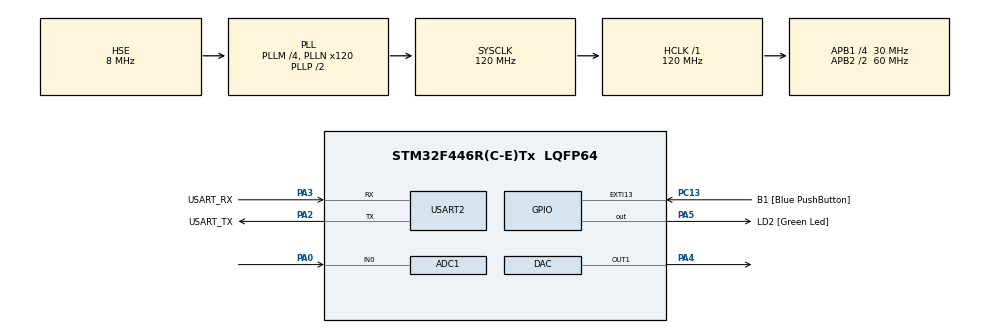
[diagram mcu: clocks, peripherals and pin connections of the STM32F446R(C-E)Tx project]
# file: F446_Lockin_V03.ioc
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ADC1.Channel-0\#ChannelRegularConversion=ADC_CHANNEL_0
ADC1.DMAContinuousRequests=ENABLE
ADC1.ExternalTrigConv=ADC_EXTERNALTRIGCONV_T8_CC1
ADC1.ExternalTrigConvEdge=ADC_EXTERNALTRIGCONVEDGE_FALLING
ADC1.NbrOfConversionFlag=1
ADC1.Rank-0\#ChannelRegularConversion=1
ADC1.Resolution=ADC_RESOLUTION_10B
ADC1.SamplingTime-0\#ChannelRegularConversion=ADC_SAMPLETIME_15CYCLES
ADC1.master=1
DAC.DAC_Trigger=DAC_TRIGGER_T8_TRGO
Dma.ADC1.0.Direction=DMA_PERIPH_TO_MEMORY
Dma.ADC1.0.FIFOMode=DMA_FIFOMODE_DISABLE
Dma.ADC1.0.Instance=DMA2_Stream0
Dma.ADC1.0.MemDataAlignment=DMA_MDATAALIGN_WORD
Dma.ADC1.0.MemInc=DMA_MINC_ENABLE
Dma.ADC1.0.Mode=DMA_CIRCULAR
Dma.ADC1.0.PeriphDataAlignment=DMA_PDATAALIGN_WORD
Dma.ADC1.0.PeriphInc=DMA_PINC_DISABLE
Dma.ADC1.0.Priority=DMA_PRIORITY_HIGH
Dma.DAC1.1.Direction=DMA_MEMORY_TO_PERIPH
Dma.DAC1.1.FIFOMode=DMA_FIFOMODE_DISABLE
Dma.DAC1.1.Instance=DMA1_Stream5
Dma.DAC1.1.MemDataAlignment=DMA_MDATAALIGN_WORD
Dma.DAC1.1.MemInc=DMA_MINC_ENABLE
Dma.DAC1.1.Mode=DMA_CIRCULAR
Dma.DAC1.1.PeriphDataAlignment=DMA_PDATAALIGN_WORD
Dma.DAC1.1.PeriphInc=DMA_PINC_DISABLE
Dma.DAC1.1.Priority=DMA_PRIORITY_HIGH
Dma.Request0=ADC1
Dma.Request1=DAC1
Mcu.Family=STM32F4
Mcu.Name=STM32F446R(C-E)Tx
Mcu.Package=LQFP64
NVIC.DMA1_Stream5_IRQn=true\:0\:0\:false\:false\:true\:false\:true\:true
NVIC.DMA2_Stream0_IRQn=true\:0\:0\:false\:false\:true\:false\:true\:true
NVIC.PriorityGroup=NVIC_PRIORITYGROUP_0
PA0-WKUP.Signal=ADCx_IN0
PA13.GPIO_Label=TMS
PA13.Mode=Serial_Wire
PA13.Signal=SYS_JTMS-SWDIO
PA14.GPIO_Label=TCK
PA14.Mode=Serial_Wire
PA14.Signal=SYS_JTCK-SWCLK
PA2.GPIO_Label=USART_TX
PA2.Mode=Asynchronous
PA2.Signal=USART2_TX
PA3.GPIO_Label=USART_RX
PA3.Mode=Asynchronous
PA3.Signal=USART2_RX
PA4.Signal=COMP_DAC1_group
PA5.GPIO_Label=LD2 [Green Led]
PA5.Signal=GPIO_Output
PB3.GPIO_Label=SWO
PB3.Signal=SYS_JTDO-SWO
PC13.GPIO_Label=B1 [Blue PushButton]
PC13.GPIO_ModeDefaultEXTI=GPIO_MODE_IT_FALLING
PC13.Signal=GPXTI13
PC14-OSC32_IN.Mode=LSE-External-Oscillator
PC14-OSC32_IN.Signal=RCC_OSC32_IN
PC15-OSC32_OUT.Mode=LSE-External-Oscillator
PC15-OSC32_OUT.Signal=RCC_OSC32_OUT
PH0-OSC_IN.Mode=HSE-External-Oscillator
PH0-OSC_IN.Signal=RCC_OSC_IN
PH1-OSC_OUT.Mode=HSE-External-Oscillator
PH1-OSC_OUT.Signal=RCC_OSC_OUT
ProjectManager.HeapSize=0x200
ProjectManager.StackSize=0x400
ProjectManager.TargetToolchain=STM32CubeIDE
RCC.48MHZClocksFreq_Value=84000000
RCC.AHBFreq_Value=120000000
RCC.APB1CLKDivider=RCC_HCLK_DIV4
RCC.APB1Freq_Value=30000000
RCC.APB1TimFreq_Value=60000000
RCC.APB2CLKDivider=RCC_HCLK_DIV2
RCC.APB2Freq_Value=60000000
RCC.APB2TimFreq_Value=120000000
RCC.CortexFreq_Value=120000000
RCC.FLatency-AdvancedSettings=FLASH_LATENCY_3
RCC.HCLKFreq_Value=120000000
RCC.HSE_VALUE=8000000
RCC.HSI_VALUE=16000000
RCC.PLLM=4
RCC.PLLN=120
RCC.PLLSourceVirtual=RCC_PLLSOURCE_HSE
RCC.SYSCLKFreq_VALUE=120000000
RCC.SYSCLKSource=RCC_SYSCLKSOURCE_PLLCLK
RCC.USBFreq_Value=120000000
RCC.VCOOutputFreq_Value=240000000
SH.ADCx_IN0.0=ADC1_IN0,IN0
SH.COMP_DAC1_group.0=DAC_OUT1,DAC_OUT1
TIM8.Channel-PWM\ Generation1\ No\ Output=TIM_CHANNEL_1
TIM8.Period=499
TIM8.Pulse-PWM\ Generation1\ No\ Output=300
TIM8.TIM_MasterOutputTrigger=TIM_TRGO_UPDATE
USART2.VirtualMode=VM_ASYNC
VP_TIM8_VS_ClockSourceINT.Mode=Internal
VP_TIM8_VS_no_output1.Mode=PWM Generation1 No Output
board=NUCLEO-F446RE

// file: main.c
/* USER CODE BEGIN Header */
/**
  ******************************************************************************
  * @file           : main.c
  * @brief          : Main program body
  ******************************************************************************
  * @attention
  *
  * Copyright (c) 2022 STMicroelectronics.
  * All rights reserved.
  *
  * Geração de Sinal Senoidal com 128 Pontos e 200 Hz.
  * Resolução do DAC de 12 bits.
  * 4095 equivale a 3,3V.
  * TIM8 conta de 0 a 4687. Quando passa em 790, aciona a leitura analógica.
  * Quando estoura, aciona o DAC.
  *
  * Frequência do sinal gerado:
  * 	No osciloscópio: 200hz / 201Hz
  * 	Na fórmula: 199,97 Hz
  *
  ******************************************************************************
  */
/* USER CODE END Header */
#include "main.h"

/* USER CODE BEGIN Includes */
#include <stdbool.h>
#include <string.h>
#include <math.h>

#define Ns 128
#define Periodos 15
#define pntsVarredura 60

/* USER CODE END Includes */

/* USER CODE BEGIN PM */
uint32_t LUT[Ns] = {983,1016,1049,1083,1116,1148,1181,1212,1244,1274,1304,1333,1362,1389,1415,1441,1465,1488,1510,1531,1550,1568,1584,1599,1613,1625,1636,1645,1652,1658,1662,1664,1665,1664,1662,1658,1652,1645,1636,1625,1613,1599,1584,1568,1550,1531,1510,1488,1465,1441,1415,1389,1362,1333,1304,1274,1244,1212,1181,1148,1116,1083,1049,1016,983,949,916,882,849,817,784,753,721,691,661,632,603,576,550,524,500,477,455,434,415,397,381,366,352,340,329,320,313,307,303,301,300,301,303,307,313,320,329,340,352,366,381,397,415,434,455,477,500,524,550,576,603,632,661,691,721,753,784,817,849,882,916,949};
uint32_t AdcRead[(Periodos*Ns)];

float resultado[(Periodos*Ns)];	// Vetor que armazena temporariamente 1° e 2° Harmônicos

float arg1 = 2 * 3.14159265358979323 * 1;
float arg2 = 2 * 3.14159265358979323 * 2;

float mod1h[pntsVarredura];		// Depois é preciso mudar essa variável Ns para uma que determine o numero de pontos da varredura
float mod2h[pntsVarredura];

float fase1h[pntsVarredura];
float fase2h[pntsVarredura];

float quad1h[pntsVarredura];
float quad2h[pntsVarredura];

bool flag = false;
bool transfer = false;

char recebido[10]; 	// buffer que armazena a string recebida.
char resp1[4] = {'n', 'e', 'x', 't'};
char resp2[4] = {'a', 'b', 'c', 'd'};
char dados[8];

int ret;
int i = 0;
int j = 0;

float soma = 0;
float media = 0;

/* USER CODE END PM */

ADC_HandleTypeDef hadc1;
DMA_HandleTypeDef hdma_adc1;

DAC_HandleTypeDef hdac;
DMA_HandleTypeDef hdma_dac1;

TIM_HandleTypeDef htim8;

UART_HandleTypeDef huart2;

void SystemClock_Config(void);
static void MX_GPIO_Init(void);
static void MX_DMA_Init(void);
static void MX_USART2_UART_Init(void);
static void MX_ADC1_Init(void);
static void MX_DAC_Init(void);
static void MX_TIM8_Init(void);

int main(void)
{

  /* MCU Configuration--------------------------------------------------------*/

  /* Reset of all peripherals, Initializes the Flash interface and the Systick. */
  HAL_Init();

  /* Configure the system clock */
  SystemClock_Config();

  /* Initialize all configured peripherals */
  MX_GPIO_Init();
  MX_DMA_Init();
  MX_USART2_UART_Init();
  MX_ADC1_Init();
  MX_DAC_Init();
  MX_TIM8_Init();
  /* USER CODE BEGIN 2 */

  HAL_DAC_Start_DMA(&hdac, DAC_CHANNEL_1, (uint32_t*)LUT, Ns, DAC_ALIGN_12B_R);
  HAL_ADC_Start_DMA(&hadc1, AdcRead, (Periodos*Ns));
  HAL_TIM_Base_Start(&htim8);
  HAL_TIM_PWM_Start(&htim8, TIM_CHANNEL_1);

  /* USER CODE END 2 */

  /* Infinite loop */
  /* USER CODE BEGIN WHILE */
  while (1)
  {
	  HAL_UART_Receive(&huart2, recebido, 4, 100);
	  ret = strncmp(recebido, resp1, 4);

	  if (ret == 0){		// Se Recebeu a string "next"?
		  recebido[0] = 'a';
		  flag = true;

	  }

	  ret = strncmp(recebido, resp2, 4);

	  	  if (ret == 0){		// Se Recebeu a string "abcd"?
	  		  recebido[0] = 'l';

			HAL_UART_Transmit(&huart2, "1Hm FASE" , 8, 200);
			HAL_Delay(20);
			for (i = 0; i < pntsVarredura; i++){
				sprintf(dados, "%08f", fase1h[i]);
				HAL_UART_Transmit(&huart2, dados , 8, 200);
				HAL_Delay(10);
			}

			HAL_UART_Transmit(&huart2, "1Hm QUAD" , 8, 200);
			HAL_Delay(20);
			for (i = 0; i < pntsVarredura; i++){
				sprintf(dados, "%08f", quad1h[i]);
				HAL_UART_Transmit(&huart2, dados , 8, 200);
				HAL_Delay(10);
			}

			HAL_UART_Transmit(&huart2, "2Hm FASE" , 8, 200);
			HAL_Delay(20);
			for (i = 0; i < pntsVarredura; i++){
				sprintf(dados, "%08f", fase2h[i]);
				HAL_UART_Transmit(&huart2, dados , 8, 200);
				HAL_Delay(10);
			}

			HAL_UART_Transmit(&huart2, "2Hm QUAD" , 8, 200);
			HAL_Delay(20);
			for (i = 0; i < pntsVarredura; i++){
				sprintf(dados, "%08f", quad2h[i]);
				HAL_UART_Transmit(&huart2, dados , 8, 200);
				HAL_Delay(10);
			}

			HAL_UART_Transmit(&huart2, "1Hm MODL" , 8, 200);
			HAL_Delay(20);
			for (i = 0; i < pntsVarredura; i++){
				sprintf(dados, "%08f", mod1h[i]);
				HAL_UART_Transmit(&huart2, dados , 8, 200);
				HAL_Delay(10);
			}

			HAL_UART_Transmit(&huart2, "2Hm MODL" , 8, 200);
			HAL_Delay(20);
			for (i = 0; i < pntsVarredura; i++){
				sprintf(dados, "%08f", mod2h[i]);
				HAL_UART_Transmit(&huart2, dados , 8, 200);
				HAL_Delay(10);
			}

			j = 0;

			HAL_UART_Transmit(&huart2, "Terminou", 8, 100);

			for (int k = 0; k < pntsVarredura; k++){	// Zerando todos os vetores
				fase1h[k] = 0;
				fase2h[k] = 0;
				quad1h[k] = 0;
				quad2h[k] = 0;
				mod1h[k] = 0;
				mod2h[k] = 0;
			}

	  	  }

    /* USER CODE END WHILE */

  }
}

void SystemClock_Config(void)
{
  RCC_OscInitTypeDef RCC_OscInitStruct = {0};
  RCC_ClkInitTypeDef RCC_ClkInitStruct = {0};

  /** Configure the main internal regulator output voltage
  */
  __HAL_RCC_PWR_CLK_ENABLE();
  __HAL_PWR_VOLTAGESCALING_CONFIG(PWR_REGULATOR_VOLTAGE_SCALE3);

  /** Initializes the RCC Oscillators according to the specified parameters
  * in the RCC_OscInitTypeDef structure.
  */
  RCC_OscInitStruct.OscillatorType = RCC_OSCILLATORTYPE_HSE;
  RCC_OscInitStruct.HSEState = RCC_HSE_ON;
  RCC_OscInitStruct.PLL.PLLState = RCC_PLL_ON;
  RCC_OscInitStruct.PLL.PLLSource = RCC_PLLSOURCE_HSE;
  RCC_OscInitStruct.PLL.PLLM = 4;
  RCC_OscInitStruct.PLL.PLLN = 120;
  RCC_OscInitStruct.PLL.PLLP = RCC_PLLP_DIV2;
  RCC_OscInitStruct.PLL.PLLQ = 2;
  RCC_OscInitStruct.PLL.PLLR = 2;
  if (HAL_RCC_OscConfig(&RCC_OscInitStruct) != HAL_OK)
  {
    Error_Handler();
  }

  /** Initializes the CPU, AHB and APB buses clocks
  */
  RCC_ClkInitStruct.ClockType = RCC_CLOCKTYPE_HCLK|RCC_CLOCKTYPE_SYSCLK
                              |RCC_CLOCKTYPE_PCLK1|RCC_CLOCKTYPE_PCLK2;
  RCC_ClkInitStruct.SYSCLKSource = RCC_SYSCLKSOURCE_PLLCLK;
  RCC_ClkInitStruct.AHBCLKDivider = RCC_SYSCLK_DIV1;
  RCC_ClkInitStruct.APB1CLKDivider = RCC_HCLK_DIV4;
  RCC_ClkInitStruct.APB2CLKDivider = RCC_HCLK_DIV2;

  if (HAL_RCC_ClockConfig(&RCC_ClkInitStruct, FLASH_LATENCY_3) != HAL_OK)
  {
    Error_Handler();
  }
}

static void MX_ADC1_Init(void)
{

  ADC_ChannelConfTypeDef sConfig = {0};

  /** Configure the global features of the ADC (Clock, Resolution, Data Alignment and number of conversion)
  */
  hadc1.Instance = ADC1;
  hadc1.Init.ClockPrescaler = ADC_CLOCK_SYNC_PCLK_DIV2;
  hadc1.Init.Resolution = ADC_RESOLUTION_12B;
  hadc1.Init.ScanConvMode = DISABLE;
  hadc1.Init.ContinuousConvMode = DISABLE;
  hadc1.Init.DiscontinuousConvMode = DISABLE;
  hadc1.Init.ExternalTrigConvEdge = ADC_EXTERNALTRIGCONVEDGE_FALLING;
  hadc1.Init.ExternalTrigConv = ADC_EXTERNALTRIGCONV_T8_CC1;
  hadc1.Init.DataAlign = ADC_DATAALIGN_RIGHT;
  hadc1.Init.NbrOfConversion = 1;
  hadc1.Init.DMAContinuousRequests = ENABLE;
  hadc1.Init.EOCSelection = ADC_EOC_SINGLE_CONV;
  if (HAL_ADC_Init(&hadc1) != HAL_OK)
  {
    Error_Handler();
  }

  /** Configure for the selected ADC regular channel its corresponding rank in the sequencer and its sample time.
  */
  sConfig.Channel = ADC_CHANNEL_0;
  sConfig.Rank = 1;
  sConfig.SamplingTime = ADC_SAMPLETIME_15CYCLES;
  if (HAL_ADC_ConfigChannel(&hadc1, &sConfig) != HAL_OK)
  {
    Error_Handler();
  }

}

static void MX_DAC_Init(void)
{

  DAC_ChannelConfTypeDef sConfig = {0};

  /** DAC Initialization
  */
  hdac.Instance = DAC;
  if (HAL_DAC_Init(&hdac) != HAL_OK)
  {
    Error_Handler();
  }

  /** DAC channel OUT1 config
  */
  sConfig.DAC_Trigger = DAC_TRIGGER_T8_TRGO;
  sConfig.DAC_OutputBuffer = DAC_OUTPUTBUFFER_ENABLE;
  if (HAL_DAC_ConfigChannel(&hdac, &sConfig, DAC_CHANNEL_1) != HAL_OK)
  {
    Error_Handler();
  }

}

static void MX_TIM8_Init(void)
{

  TIM_ClockConfigTypeDef sClockSourceConfig = {0};
  TIM_MasterConfigTypeDef sMasterConfig = {0};
  TIM_OC_InitTypeDef sConfigOC = {0};
  TIM_BreakDeadTimeConfigTypeDef sBreakDeadTimeConfig = {0};

  htim8.Instance = TIM8;
  htim8.Init.Prescaler = 0;
  htim8.Init.CounterMode = TIM_COUNTERMODE_UP;
  htim8.Init.Period = 4687;
  htim8.Init.ClockDivision = TIM_CLOCKDIVISION_DIV1;
  htim8.Init.RepetitionCounter = 0;
  htim8.Init.AutoReloadPreload = TIM_AUTORELOAD_PRELOAD_DISABLE;
  if (HAL_TIM_Base_Init(&htim8) != HAL_OK)
  {
    Error_Handler();
  }
  sClockSourceConfig.ClockSource = TIM_CLOCKSOURCE_INTERNAL;
  if (HAL_TIM_ConfigClockSource(&htim8, &sClockSourceConfig) != HAL_OK)
  {
    Error_Handler();
  }
  if (HAL_TIM_PWM_Init(&htim8) != HAL_OK)
  {
    Error_Handler();
  }
  sMasterConfig.MasterOutputTrigger = TIM_TRGO_UPDATE;
  sMasterConfig.MasterSlaveMode = TIM_MASTERSLAVEMODE_DISABLE;
  if (HAL_TIMEx_MasterConfigSynchronization(&htim8, &sMasterConfig) != HAL_OK)
  {
    Error_Handler();
  }
  sConfigOC.OCMode = TIM_OCMODE_PWM1;
  sConfigOC.Pulse = 790;
  sConfigOC.OCPolarity = TIM_OCPOLARITY_HIGH;
  sConfigOC.OCNPolarity = TIM_OCNPOLARITY_HIGH;
  sConfigOC.OCFastMode = TIM_OCFAST_DISABLE;
  sConfigOC.OCIdleState = TIM_OCIDLESTATE_RESET;
  sConfigOC.OCNIdleState = TIM_OCNIDLESTATE_RESET;
  if (HAL_TIM_PWM_ConfigChannel(&htim8, &sConfigOC, TIM_CHANNEL_1) != HAL_OK)
  {
    Error_Handler();
  }
  sBreakDeadTimeConfig.OffStateRunMode = TIM_OSSR_DISABLE;
  sBreakDeadTimeConfig.OffStateIDLEMode = TIM_OSSI_DISABLE;
  sBreakDeadTimeConfig.LockLevel = TIM_LOCKLEVEL_OFF;
  sBreakDeadTimeConfig.DeadTime = 0;
  sBreakDeadTimeConfig.BreakState = TIM_BREAK_DISABLE;
  sBreakDeadTimeConfig.BreakPolarity = TIM_BREAKPOLARITY_HIGH;
  sBreakDeadTimeConfig.AutomaticOutput = TIM_AUTOMATICOUTPUT_DISABLE;
  if (HAL_TIMEx_ConfigBreakDeadTime(&htim8, &sBreakDeadTimeConfig) != HAL_OK)
  {
    Error_Handler();
  }

}

static void MX_USART2_UART_Init(void)
{

  huart2.Instance = USART2;
  huart2.Init.BaudRate = 115200;
  huart2.Init.WordLength = UART_WORDLENGTH_8B;
  huart2.Init.StopBits = UART_STOPBITS_1;
  huart2.Init.Parity = UART_PARITY_NONE;
  huart2.Init.Mode = UART_MODE_TX_RX;
  huart2.Init.HwFlowCtl = UART_HWCONTROL_NONE;
  huart2.Init.OverSampling = UART_OVERSAMPLING_16;
  if (HAL_UART_Init(&huart2) != HAL_OK)
  {
    Error_Handler();
  }

}

static void MX_DMA_Init(void)
{

  /* DMA controller clock enable */
  __HAL_RCC_DMA2_CLK_ENABLE();
  __HAL_RCC_DMA1_CLK_ENABLE();

  /* DMA interrupt init */
  /* DMA1_Stream5_IRQn interrupt configuration */
  HAL_NVIC_SetPriority(DMA1_Stream5_IRQn, 0, 0);
  HAL_NVIC_EnableIRQ(DMA1_Stream5_IRQn);
  /* DMA2_Stream0_IRQn interrupt configuration */
  HAL_NVIC_SetPriority(DMA2_Stream0_IRQn, 0, 0);
  HAL_NVIC_EnableIRQ(DMA2_Stream0_IRQn);

}

static void MX_GPIO_Init(void)
{
  GPIO_InitTypeDef GPIO_InitStruct = {0};

  /* GPIO Ports Clock Enable */
  __HAL_RCC_GPIOC_CLK_ENABLE();
  __HAL_RCC_GPIOH_CLK_ENABLE();
  __HAL_RCC_GPIOA_CLK_ENABLE();
  __HAL_RCC_GPIOB_CLK_ENABLE();

  /*Configure GPIO pin Output Level */
  HAL_GPIO_WritePin(LD2_GPIO_Port, LD2_Pin, GPIO_PIN_RESET);

  /*Configure GPIO pin : B1_Pin */
  GPIO_InitStruct.Pin = B1_Pin;
  GPIO_InitStruct.Mode = GPIO_MODE_IT_FALLING;
  GPIO_InitStruct.Pull = GPIO_NOPULL;
  HAL_GPIO_Init(B1_GPIO_Port, &GPIO_InitStruct);

  /*Configure GPIO pin : LD2_Pin */
  GPIO_InitStruct.Pin = LD2_Pin;
  GPIO_InitStruct.Mode = GPIO_MODE_OUTPUT_PP;
  GPIO_InitStruct.Pull = GPIO_NOPULL;
  GPIO_InitStruct.Speed = GPIO_SPEED_FREQ_LOW;
  HAL_GPIO_Init(LD2_GPIO_Port, &GPIO_InitStruct);

}

/* USER CODE BEGIN 4 */
void HAL_ADC_ConvCpltCallback(ADC_HandleTypeDef* hadc1){

if( transfer == true){
	flag = false;
	transfer = false;

	//HAL_UART_Transmit(&huart2, "r003" , 4, 200);

// Cálculo primeiro harmônico em Fase
for (i = 0; i < (Periodos*Ns); i++){
		resultado[i] = (AdcRead[i] * sin(arg1*i/Ns) );
	}
for (i = 0; i < (Periodos*Ns); i++){
		soma = soma + resultado[i];
	}
	fase1h[j] =  soma/(Periodos*Ns);
	soma = 0;

// Cálculo primeiro harmônico em Quadratura
for (i = 0; i < (Periodos*Ns); i++){
		resultado[i] = (AdcRead[i] * cos(arg1*i/Ns) );
	}
for (i = 0; i < (Periodos*Ns); i++){
		soma = soma + resultado[i];
	}
	quad1h[j] =  soma/(Periodos*Ns);
	soma = 0;

// Cálculo primeiro módulo do Primeiro Harmônico
mod1h[j] = pow( (pow(fase1h[j],2) + pow(quad1h[j], 2)) , 0.5);

// Cálculo segundo harmônico em Fase
for (i = 0; i < (Periodos*Ns); i++){
		resultado[i] = (AdcRead[i] * sin(arg2*i/Ns) );
	}
for (i = 0; i < (Periodos*Ns); i++){
		soma = soma + resultado[i];
	}
	fase2h[j] =  soma/(Periodos*Ns);
	soma = 0;

// Cálculo segundo harmônico em Quadratura
for (i = 0; i < (Periodos*Ns); i++){
		resultado[i] = (AdcRead[i] * cos(arg2*i/Ns) );
	}
for (i = 0; i < (Periodos*Ns); i++){
		soma = soma + resultado[i];
	}
	quad2h[j] =  soma/(Periodos*Ns);
	soma = 0;

// Cálculo primeiro módulo do Primeiro Harmônico
mod2h[j] = pow( (pow(fase2h[j],2) + pow(quad2h[j], 2)) , 0.5);

j = j + 1;
HAL_UART_Transmit(&huart2, "stop", 4, 100);

}

	if (flag == true){
		transfer = true;
		  //HAL_UART_Transmit(&huart2, "r002" , 4, 200);
	}
}
/* USER CODE END 4 */

void Error_Handler(void)
{
  __disable_irq();
  while (1)
  {
  }
}
